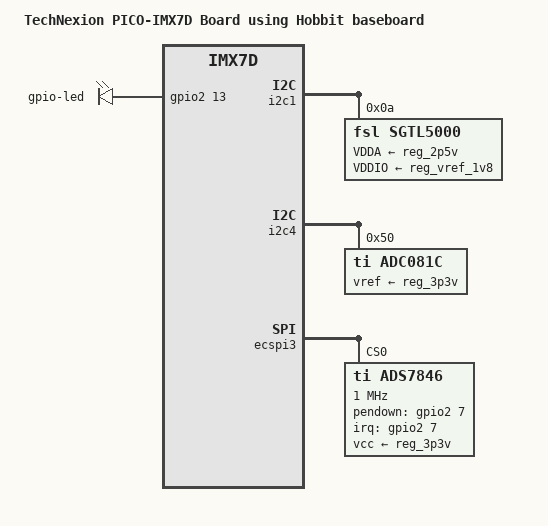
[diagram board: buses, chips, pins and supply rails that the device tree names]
// SPDX-License-Identifier: (GPL-2.0+ OR MIT)
//
// Copyright 2017 NXP

#include "imx7d-pico.dtsi"

/ {
	model = "TechNexion PICO-IMX7D Board using Hobbit baseboard";
	compatible = "technexion,imx7d-pico-hobbit", "fsl,imx7d";

	leds {
		compatible = "gpio-leds";
		pinctrl-names = "default";
		pinctrl-0 = <&pinctrl_gpio_leds>;

		led {
			label = "gpio-led";
			gpios = <&gpio2 13 GPIO_ACTIVE_HIGH>;
		};
	};

	sound {
		compatible = "simple-audio-card";
		simple-audio-card,name = "imx7-sgtl5000";
		simple-audio-card,format = "i2s";
		simple-audio-card,bitclock-master = <&dailink_master>;
		simple-audio-card,frame-master = <&dailink_master>;
		simple-audio-card,cpu {
			sound-dai = <&sai1>;
		};

		dailink_master: simple-audio-card,codec {
			sound-dai = <&sgtl5000>;
			clocks = <&clks IMX7D_AUDIO_MCLK_ROOT_DIV>;
		};
	};
};

&i2c1 {
	sgtl5000: codec@a {
		#sound-dai-cells = <0>;
		reg = <0x0a>;
		compatible = "fsl,sgtl5000";
		clocks = <&clks IMX7D_AUDIO_MCLK_ROOT_DIV>;
		VDDA-supply = <&reg_2p5v>;
		VDDIO-supply = <&reg_vref_1v8>;
	};
};

&i2c4 {
	status = "okay";

	adc081c: adc@50 {
		compatible = "ti,adc081c";
		reg = <0x50>;
		vref-supply = <&reg_3p3v>;
	};
};

&ecspi3 {
	ads7846@0 {
		reg = <0>;
		compatible = "ti,ads7846";
		interrupt-parent = <&gpio2>;
		interrupts = <7 0>;
		spi-max-frequency = <1000000>;
		pendown-gpio = <&gpio2 7 0>;
		vcc-supply = <&reg_3p3v>;
		ti,x-min = /bits/ 16 <0>;
		ti,x-max = /bits/ 16 <4095>;
		ti,y-min = /bits/ 16 <0>;
		ti,y-max = /bits/ 16 <4095>;
		ti,pressure-max = /bits/ 16 <1024>;
		ti,x-plate-ohms = /bits/ 16 <90>;
		ti,y-plate-ohms = /bits/ 16 <90>;
		ti,debounce-max = /bits/ 16 <70>;
		ti,debounce-tol = /bits/ 16 <3>;
		ti,debounce-rep = /bits/ 16 <2>;
		ti,settle-delay-usec = /bits/ 16 <150>;
		wakeup-source;
	};
};

&iomuxc {
	pinctrl-names = "default";
	pinctrl-0 = <&pinctrl_hog>;

	pinctrl_hog: hoggrp {
		fsl,pins = <
			MX7D_PAD_EPDC_DATA00__GPIO2_IO0		0x14
			MX7D_PAD_EPDC_DATA01__GPIO2_IO1		0x14
			MX7D_PAD_EPDC_DATA02__GPIO2_IO2		0x14
			MX7D_PAD_EPDC_DATA03__GPIO2_IO3		0x14
			MX7D_PAD_EPDC_DATA05__GPIO2_IO5		0x14
			MX7D_PAD_EPDC_DATA12__GPIO2_IO12	0x14
			MX7D_PAD_EPDC_DATA07__GPIO2_IO7		0x14
		>;
	};

	pinctrl_gpio_leds: gpioledsgrp {
		fsl,pins = <
			MX7D_PAD_EPDC_DATA13__GPIO2_IO13	0x14
		>;
	};
};
